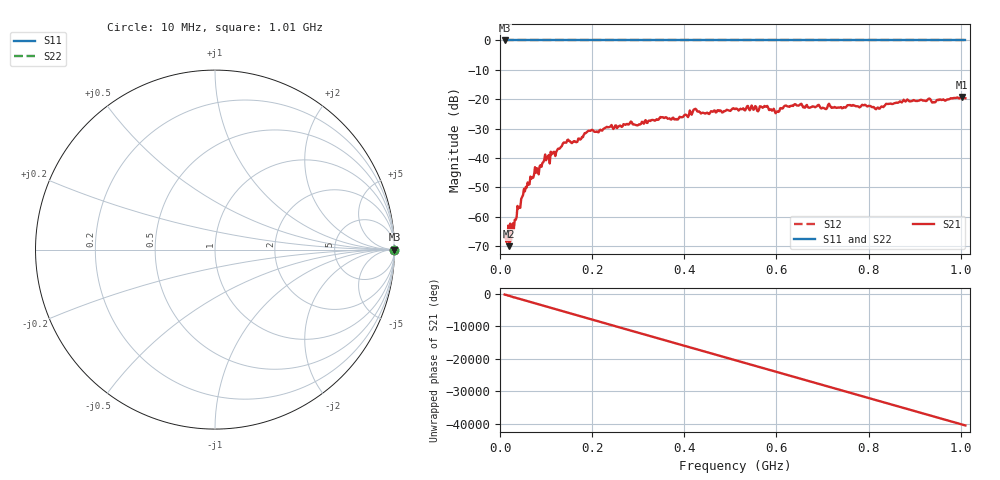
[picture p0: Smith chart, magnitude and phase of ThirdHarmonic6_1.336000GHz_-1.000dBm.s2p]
! 8/16/2025 2:58:10 PM
! C:\ANRITSUVNA\TEMP\TEMP.S2P
! CHANNEL.1
! TR.MEASUREMENT
! RAW.DATA
! RF.CORRECTION.OFF
! AVERAGING.OFF
! IF.BANDWIDTH: 5KHZ
! SWEEPTYPE:  FREQ.SWEEP(Linear)
! Reference Plane Port Info
! PORT:  PORT1  PORT2
! DISTANCE:  0  m  0  m
! TIME:  0  s  0  s
! PHASE.OFFSET:  0  deg.  0  deg.
! LOSS:  0  dB  0  dB
! REF.LOSS:  0  dB  0  dB
! REF.FREQ:  0  Hz  0  Hz
! Power Info
! POWER:  -20  dBm  -20  dBm
! EFF.POWER:  -20  dBm  -20  dBm
! SOURCE.ATTEN:  0  dB  0  dB
! TEST.ATTEN:  0  dB  0  dB
# GHZ S RI R 50.0
! FREQ.GHZ  S11RE  S11IM  S21RE  S21IM  S12RE  S12IM  S22RE  S22IM
!; PortSelection: Port_12
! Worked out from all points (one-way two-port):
!   501 points, 10 MHz to 1.01 GHz, reference 50 ohm
!   highest |S21| = -19.21 dB at 1.002 GHz (marker M1); lowest = -70.0 dB at 20 MHz (marker M2)
!   lowest |S11| = 0.0 dB at 10 MHz (marker M3)
!   |S11| at or under -10 dB: nowhere
!   |S22| runs from 0.0 to 0.0 dB; largest |S21 - S12| = 1.1
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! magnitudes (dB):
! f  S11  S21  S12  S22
! 10 MHz  0.0  -67.1  0.0  0.0
! 20 MHz  0.0  -70.0  0.0  0.0
! 28 MHz  0.0  -62.2  0.0  0.0
! 52 MHz  0.0  -50.5  0.0  0.0
! 78 MHz  0.0  -45.0  0.0  0.0
! 142 MHz  0.0  -34.7  0.0  0.0
! 178 MHz  0.0  -32.8  0.0  0.0
! 196 MHz  0.0  -30.7  0.0  0.0
! 344 MHz  0.0  -26.9  0.0  0.0
! 382 MHz  0.0  -26.7  0.0  0.0
! 424 MHz  0.0  -23.2  0.0  0.0
! 450 MHz  0.0  -24.6  0.0  0.0
! 510 MHz  0.0  -23.3  0.0  0.0
! 576 MHz  0.0  -22.5  0.0  0.0
! 602 MHz  0.0  -24.1  0.0  0.0
! 620 MHz  0.0  -22.1  0.0  0.0
! 678 MHz  0.0  -22.4  0.0  0.0
! 790 MHz  0.0  -22.1  0.0  0.0
! 820 MHz  0.0  -22.8  0.0  0.0
! 844 MHz  0.0  -21.6  0.0  0.0
! 1.002 GHz  0.0  -19.2  0.0  0.0
! 1.01 GHz  0.0  -19.7  0.0  0.0
